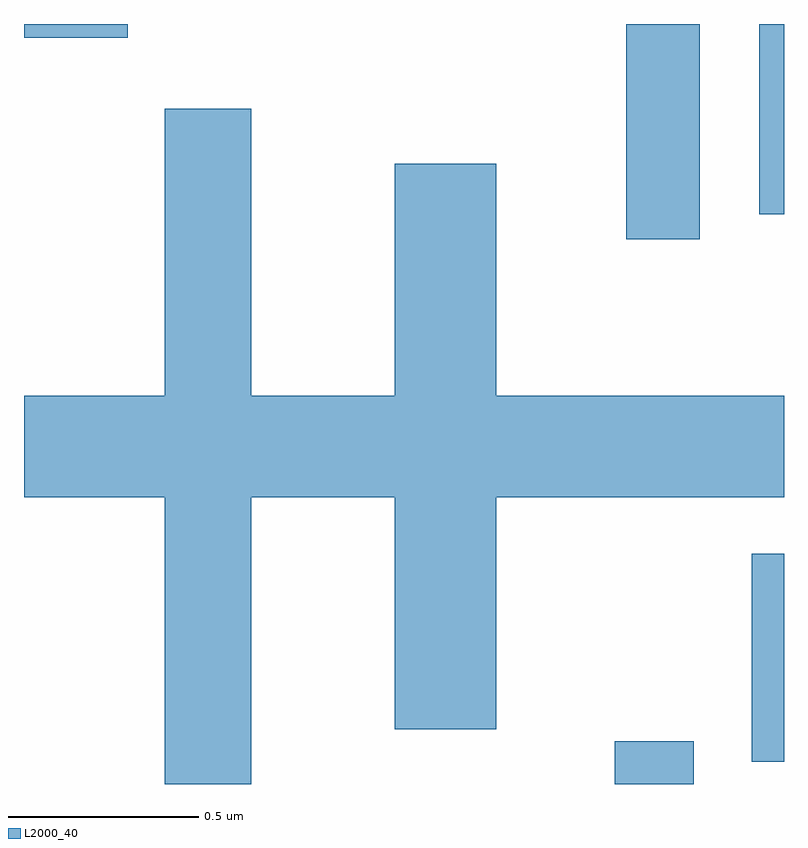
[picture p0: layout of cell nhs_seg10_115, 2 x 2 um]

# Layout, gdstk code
import gdstk
lib = gdstk.Library(unit=1e-6, precision=1e-09)
def R(c, l, rs):  # rectangles x0, y0, x1, y1
    for r in rs: c.add(gdstk.rectangle(r[:2], r[2:], *l))
def P(c, l, *ps):  # polygons
    for p in ps: c.add(gdstk.Polygon(p, *l))
L2000_40 = (2000, 40)

nhs_seg10_115 = lib.new_cell('nhs_seg10_115')
R(nhs_seg10_115, L2000_40, [(187.166,2197.522,187.374,2197.634), (187.526,2197.581,187.611,2198.128), (187.196,2198.956,187.389,2199.522), (187.546,2199.021,187.611,2199.522), (185.611,2199.486,185.884,2199.522)])
P(nhs_seg10_115, L2000_40, [(186.209,2198.276),(186.586,2198.276),(186.586,2197.666),(186.854,2197.666),(186.854,2198.276),(187.611,2198.276),(187.611,2198.544),(186.854,2198.544),(186.854,2199.154),(186.586,2199.154),(186.586,2198.544),(186.209,2198.544),(186.209,2199.299),(185.981,2199.299),(185.981,2198.544),(185.611,2198.544),(185.611,2198.276),(185.981,2198.276),(185.981,2197.522),(186.209,2197.522)])

lib.write_gds('nhs_seg10_115.gds')
